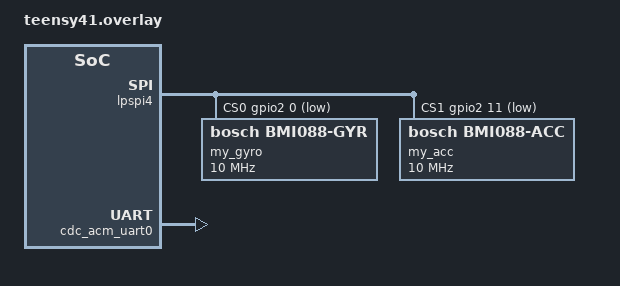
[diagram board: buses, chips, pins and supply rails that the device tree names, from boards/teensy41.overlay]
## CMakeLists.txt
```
# SPDX-License-Identifier: Apache-2.0

cmake_minimum_required(VERSION 3.20.0)

set(BOARD teensy41)

get_filename_component(BMI088_MODULE
    "${CMAKE_CURRENT_LIST_DIR}/../../../../../modules/bmi088"
    ABSOLUTE
)
get_filename_component(LPSPI_MODULE
    "${CMAKE_CURRENT_LIST_DIR}/../../../../../modules/lpspi"
    ABSOLUTE
)

list(APPEND EXTRA_ZEPHYR_MODULES 
	${BMI088_MODULE}
	${LPSPI_MODULE}
)

find_package(Zephyr REQUIRED HINTS $ENV{ZEPHYR_BASE})
project(bmi088_sample)

FILE(GLOB app_sources src/*.cpp)
target_sources(app PRIVATE ${app_sources})
```

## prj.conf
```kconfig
# Enable C++ and STL support 
CONFIG_CPP=y 
CONFIG_CPP_EXCEPTIONS=y 
CONFIG_CPP_RTTI=y 
CONFIG_STD_CPP23=y 
CONFIG_GLIBCXX_LIBCPP=y 
CONFIG_NEWLIB_LIBC=y 
CONFIG_NEWLIB_LIBC_NANO=n 

# System 
CONFIG_FPU=y 
CONFIG_FPU_SHARING=y 
CONFIG_THREAD_ANALYZER=y

# USB (new)
CONFIG_USB_DEVICE_STACK_NEXT=y
CONFIG_CDC_ACM_SERIAL_INITIALIZE_AT_BOOT=y

# Enable logging
CONFIG_LOG=y
CONFIG_SENSOR_LOG_LEVEL_WRN=y
CONFIG_USBD_LOG_LEVEL_WRN=y
CONFIG_LOG_BUFFER_SIZE=8192
# Enable console
CONFIG_CONSOLE=y
CONFIG_UART_CONSOLE=y
CONFIG_LOG_PRINTK=n
CONFIG_SHELL_LOG_BACKEND=n
```

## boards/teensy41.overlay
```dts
&lpspi4 {
    // driver: zephyr 4.3.0-rc1
    // compatible = "nxp,lpspi";
    // driver: zephyr 4.0.0
    compatible = "nxp,imx-lpspi";

    status = "okay";

    transfer-delay = <50>; // ns

    pinctrl-0 = <&pinmux_lpspi4>;
    pinctrl-names = "default";
    
    cs-gpios = <&gpio2  0 GPIO_ACTIVE_LOW>, // BMI088 Gyro
               <&gpio2 11 GPIO_ACTIVE_LOW>; // BMI088 Accel

    // BMI088

    my_gyro: bmi088_gyr@0 {
        compatible = "bosch,bmi088-gyr";
        reg = <0>;
        spi-max-frequency = <10000000>;
        // datasheet page 39
        bandwidth = <0x06>; // corner-frequency at 64 Hz
        status = "okay";
    };

    my_acc: bmi088_acc@1 {
        compatible = "bosch,bmi088-acc";
        reg = <1>;
        spi-max-frequency = <10000000>;
        // datasheet page 16 and 29
        // corner-frequency at 80 Hz
        odr = <0x0B>; // 800 Hz
        osr = <0x08>; // 4 times oversampled
        status = "okay";
    };
};

&zephyr_udc0 {
    cdc_acm_uart0: cdc_acm_uart0 {
		compatible = "zephyr,cdc-acm-uart";
	};
};

/ {
    chosen {
	    zephyr,console = &cdc_acm_uart0;
        // use hardware uart for early debug (if necessary):
        // zephyr,console = &lpuart6;
    };
};
```

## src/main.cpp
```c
#include <zephyr/device.h>
#include <zephyr/drivers/sensor.h>

int main(){
    printk("BMI088 sample application\n");

    const device *my_gyro = DEVICE_DT_GET(DT_NODELABEL(my_gyro));

    const device *my_acc = DEVICE_DT_GET(DT_NODELABEL(my_acc));

    if (!device_is_ready(my_gyro)) {
		printk("my_gyro: device not ready.\n");
		return 0;
	}

    if (!device_is_ready(my_acc)) {
		printk("my_acc: device not ready.\n");
		return 0;
	}


    while (true) {        
        sensor_sample_fetch(my_gyro);
        sensor_value gyro[3];
        sensor_channel_get(my_gyro, SENSOR_CHAN_GYRO_XYZ, gyro);
        printk("Gyro x: %f °/s y: %f °/s z: %f °/s",
                sensor_value_to_double(&gyro[0]),
                sensor_value_to_double(&gyro[1]),
                sensor_value_to_double(&gyro[2]));

        sensor_sample_fetch(my_acc);
        sensor_value accel[3];
        sensor_channel_get(my_acc, SENSOR_CHAN_ACCEL_XYZ, accel);
        printk("Accelerometer x: %f m/s2 y: %f m/s2 z: %f m/s2",
                sensor_value_to_double(&accel[0]),
                sensor_value_to_double(&accel[1]),
                sensor_value_to_double(&accel[2]));
    }
}
```
